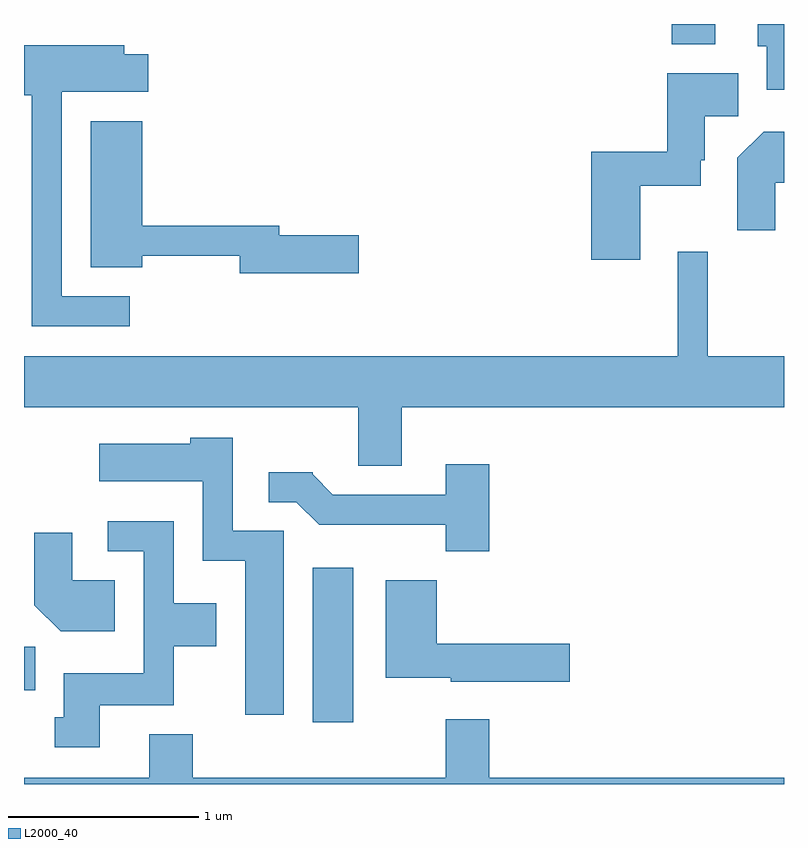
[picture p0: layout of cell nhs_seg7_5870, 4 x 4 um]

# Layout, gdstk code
import gdstk
lib = gdstk.Library(unit=1e-6, precision=1e-09)
def R(c, l, rs):  # rectangles x0, y0, x1, y1
    for r in rs: c.add(gdstk.rectangle(r[:2], r[2:], *l))
def P(c, l, *ps):  # polygons
    for p in ps: c.add(gdstk.Polygon(p, *l))
L2000_40 = (2000, 40)

nhs_seg7_5870 = lib.new_cell('nhs_seg7_5870')
R(nhs_seg7_5870, L2000_40, [(365.131,1792.576,365.344,1793.389), (363.611,1792.746,363.669,1792.974), (367.021,1796.146,367.249,1796.252)])
P(nhs_seg7_5870, L2000_40, [(367.611,1796.252),(367.473,1796.252),(367.473,1796.136),(367.521,1796.136),(367.521,1795.906),(367.611,1795.906)],
  [(364.168,1794.819),(363.809,1794.819),(363.809,1795.896),(364.264,1795.896),(364.264,1796.094),(364.139,1796.094),(364.139,1796.139),(363.611,1796.139),(363.611,1795.876),(363.651,1795.876),(363.651,1794.661),(364.168,1794.661)],
  [(366.854,1795.401),(367.174,1795.401),(367.174,1795.536),(367.194,1795.536),(367.194,1795.766),(367.369,1795.766),(367.369,1795.994),(366.996,1795.994),(366.996,1795.579),(366.596,1795.579),(366.596,1795.011),(366.854,1795.011)],
  [(365.374,1795.139),(364.954,1795.139),(364.954,1795.189),(364.234,1795.189),(364.234,1795.739),(363.961,1795.739),(363.961,1794.971),(364.234,1794.971),(364.234,1795.031),(364.746,1795.031),(364.746,1794.941),(365.374,1794.941)],
  [(367.564,1795.416),(367.611,1795.416),(367.611,1795.684),(367.504,1795.684),(367.366,1795.547),(367.366,1795.166),(367.564,1795.166)],
  [(365.599,1794.236),(367.611,1794.236),(367.611,1794.504),(367.209,1794.504),(367.209,1795.053),(367.051,1795.053),(367.051,1794.504),(363.611,1794.504),(363.611,1794.236),(365.371,1794.236),(365.371,1793.926),(365.599,1793.926)],
  [(364.979,1793.584),(364.709,1793.584),(364.709,1794.074),(364.486,1794.074),(364.486,1794.044),(364.006,1794.044),(364.006,1793.846),(364.551,1793.846),(364.551,1793.426),(364.776,1793.426),(364.776,1792.616),(364.979,1792.616)],
  [(366.059,1793.934),(365.831,1793.934),(365.831,1793.774),(365.237,1793.774),(365.13,1793.881),(365.13,1793.894),(364.898,1793.894),(364.898,1793.736),(365.044,1793.736),(365.164,1793.616),(365.831,1793.616),(365.831,1793.476),(366.059,1793.476)],
  [(364.009,1792.666),(364.399,1792.666),(364.399,1792.976),(364.624,1792.976),(364.624,1793.204),(364.399,1793.204),(364.399,1793.634),(364.053,1793.634),(364.053,1793.476),(364.241,1793.476),(364.241,1792.834),(363.821,1792.834),(363.821,1792.604),(363.773,1792.604),(363.773,1792.446),(364.009,1792.446)],
  [(364.089,1793.324),(363.864,1793.324),(363.864,1793.574),(363.666,1793.574),(363.666,1793.194),(363.804,1793.056),(364.089,1793.056)],
  [(366.484,1792.989),(365.784,1792.989),(365.784,1793.324),(365.516,1793.324),(365.516,1792.811),(365.856,1792.811),(365.856,1792.791),(366.484,1792.791)],
  [(367.611,1792.284),(366.059,1792.284),(366.059,1792.594),(365.831,1792.594),(365.831,1792.284),(364.499,1792.284),(364.499,1792.514),(364.271,1792.514),(364.271,1792.284),(363.611,1792.284),(363.611,1792.252),(367.611,1792.252)])

lib.write_gds('nhs_seg7_5870.gds')
